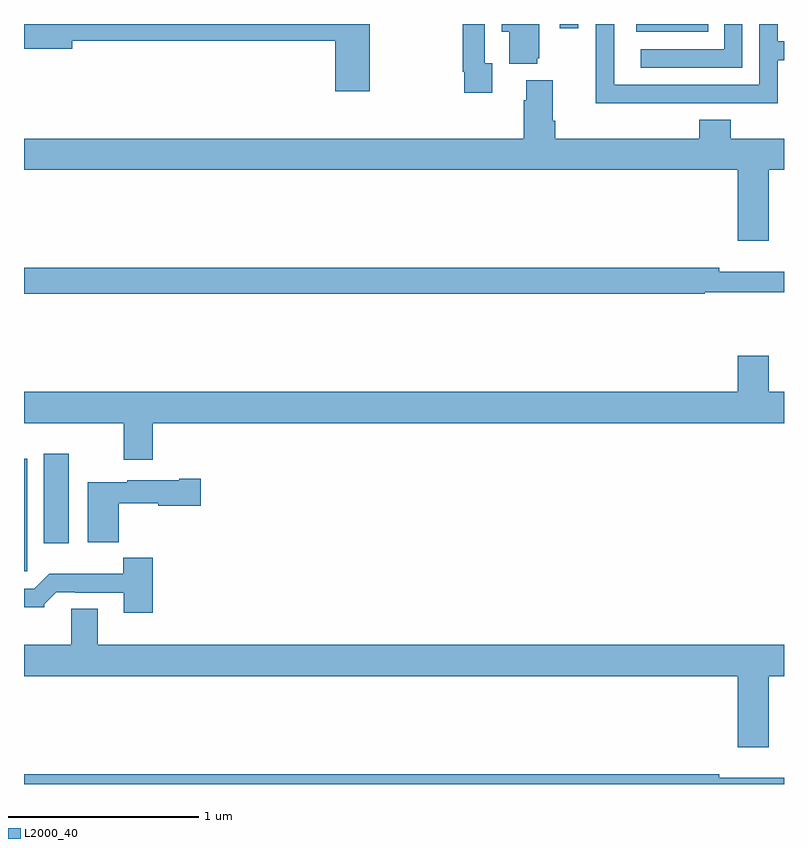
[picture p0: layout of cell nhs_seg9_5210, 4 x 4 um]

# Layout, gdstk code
import gdstk
lib = gdstk.Library(unit=1e-6, precision=1e-09)
def R(c, l, rs):  # rectangles x0, y0, x1, y1
    for r in rs: c.add(gdstk.rectangle(r[:2], r[2:], *l))
def P(c, l, *ps):  # polygons
    for p in ps: c.add(gdstk.Polygon(p, *l))
L2000_40 = (2000, 40)

nhs_seg9_5210 = lib.new_cell('nhs_seg9_5210')
R(nhs_seg9_5210, L2000_40, [(413,1215.621,413.017,1216.213), (413.105,1215.768,413.236,1216.237), (416.222,1218.458,416.6,1218.5), (415.821,1218.477,415.917,1218.5)])
P(nhs_seg9_5210, L2000_40, [(416.471,1218.084),(416.967,1218.084),(416.967,1218.309),(417,1218.309),(417,1218.41),(416.967,1218.41),(416.967,1218.5),(416.871,1218.5),(416.871,1218.18),(416.106,1218.18),(416.106,1218.5),(416.01,1218.5),(416.01,1218.389),(416.008,1218.389),(416.008,1218.083),(416.471,1218.083)],
  [(415.7,1218.321),(415.711,1218.321),(415.711,1218.5),(415.514,1218.5),(415.514,1218.458),(415.553,1218.458),(415.553,1218.29),(415.7,1218.29)],
  [(415.465,1218.294),(415.425,1218.294),(415.425,1218.5),(415.309,1218.5),(415.309,1218.25),(415.317,1218.25),(415.317,1218.138),(415.465,1218.138)],
  [(416.781,1218.5),(416.685,1218.5),(416.685,1218.366),(416.247,1218.366),(416.247,1218.27),(416.781,1218.27)],
  [(414.821,1218.5),(413,1218.5),(413,1218.37),(413.254,1218.37),(413.254,1218.412),(414.638,1218.412),(414.638,1218.147),(414.821,1218.147)],
  [(416.92,1217.732),(417,1217.732),(417,1217.896),(416.72,1217.896),(416.72,1217.995),(416.555,1217.995),(416.555,1217.896),(415.796,1217.896),(415.796,1217.992),(415.783,1217.992),(415.783,1218.205),(415.643,1218.205),(415.643,1218.098),(415.631,1218.098),(415.631,1217.896),(413,1217.896),(413,1217.732),(416.756,1217.732),(416.756,1217.358),(416.92,1217.358)],
  [(416.582,1217.088),(417,1217.088),(417,1217.197),(416.66,1217.197),(416.66,1217.216),(413,1217.216),(413,1217.08),(416.582,1217.08)],
  [(413.678,1216.4),(417,1216.4),(417,1216.564),(416.92,1216.564),(416.92,1216.753),(416.756,1216.753),(416.756,1216.564),(413,1216.564),(413,1216.4),(413.525,1216.4),(413.525,1216.206),(413.678,1216.206)],
  [(413.498,1215.977),(413.706,1215.977),(413.706,1215.965),(413.929,1215.965),(413.929,1216.107),(413.816,1216.107),(413.816,1216.099),(413.544,1216.099),(413.544,1216.087),(413.336,1216.087),(413.336,1215.773),(413.498,1215.773)],
  [(413.678,1215.691),(413.523,1215.691),(413.523,1215.607),(413.134,1215.607),(413.055,1215.528),(413,1215.528),(413,1215.431),(413.106,1215.431),(413.106,1215.446),(413.17,1215.51),(413.269,1215.51),(413.269,1215.507),(413.525,1215.507),(413.525,1215.402),(413.678,1215.402)],
  [(413.389,1215.422),(413.249,1215.422),(413.249,1215.232),(413,1215.232),(413,1215.068),(416.756,1215.068),(416.756,1214.694),(416.92,1214.694),(416.92,1215.068),(417,1215.068),(417,1215.232),(413.389,1215.232)],
  [(417,1214.533),(416.66,1214.533),(416.66,1214.552),(413,1214.552),(413,1214.5),(417,1214.5)])

lib.write_gds('nhs_seg9_5210.gds')
